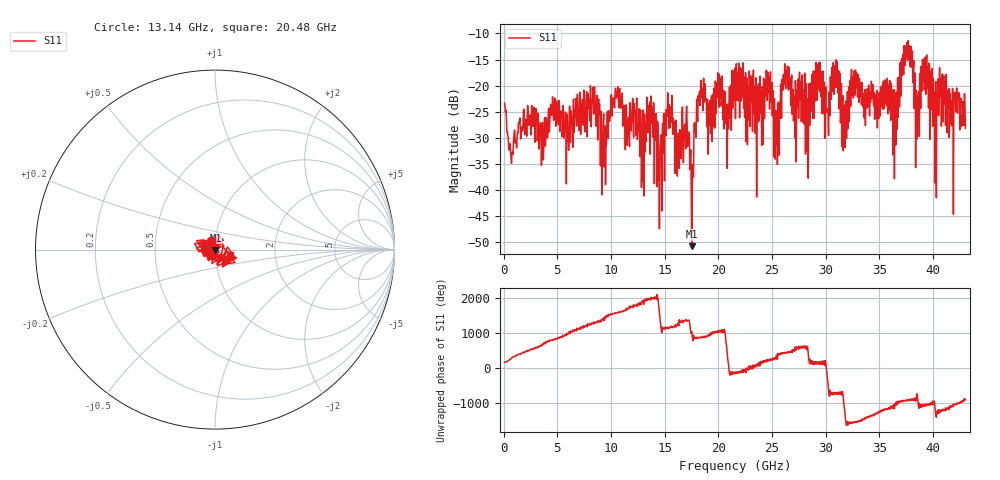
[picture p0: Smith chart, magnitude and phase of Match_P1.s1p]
# Hz S RI R 50.000000
! Metas.Vna.Tools, 2.9.9438.25149
! Metas.Vna.Data, 2.9.9438.25100
! Created: UTC 2026.07.01 05:47:32
! FREQ  re:S1,1  im:S1,1
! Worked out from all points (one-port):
!   1001 points, 100 MHz to 43 GHz, reference 50 ohm
!   lowest |S11| = -50.7 dB at 17.52 GHz (marker M1), VSWR 1.01, Z = 50.2 - j0.18 ohm
!   |S11| at or under -10 dB: start of sweep to end of sweep
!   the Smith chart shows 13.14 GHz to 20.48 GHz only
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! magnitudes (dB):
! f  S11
! 100 MHz  -23.3
! 700.6 MHz  -33.8
! 5.463 GHz  -29.8
! 8.294 GHz  -22.6
! 9.366 GHz  -35.6
! 10.82 GHz  -20.5
! 13.06 GHz  -41.1
! 13.79 GHz  -27.3
! 14.51 GHz  -47.4
! 15.5 GHz  -28.0
! 16.19 GHz  -37.3
! 17.09 GHz  -27.0
! 17.52 GHz  -50.7
! 18.42 GHz  -21.6
! 20.73 GHz  -23.6
! 21.55 GHz  -16.7
! 24.64 GHz  -20.9
! 25.5 GHz  -35.1
! 26.14 GHz  -19.7
! 26.91 GHz  -24.0
! 31.72 GHz  -23.7
! 32.27 GHz  -19.0
! 36.39 GHz  -37.8
! 37.64 GHz  -14.9
! 38.5 GHz  -30.2
! 39.31 GHz  -21.7
! 40.17 GHz  -38.6
! 43 GHz  -28.2
